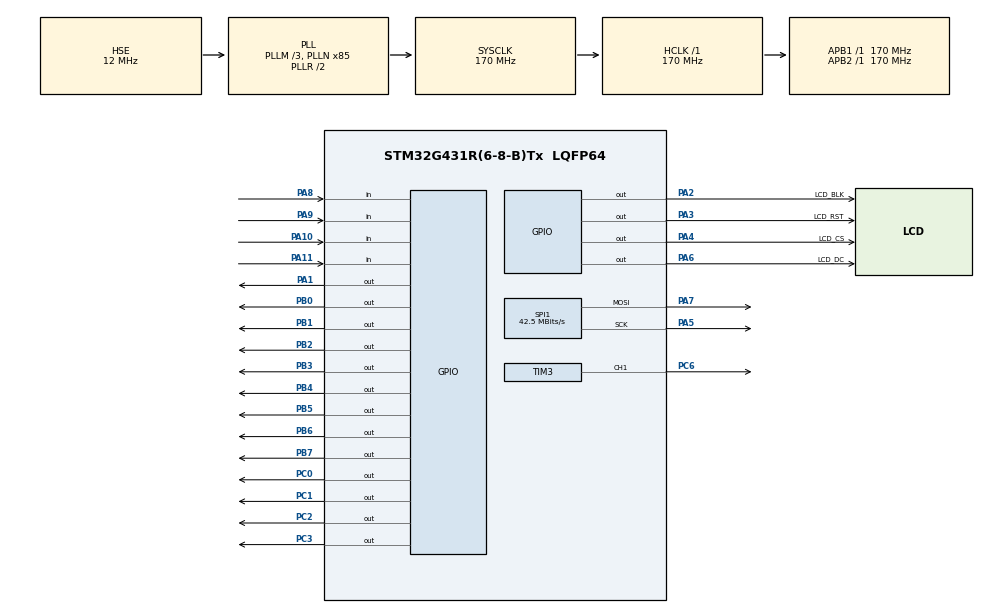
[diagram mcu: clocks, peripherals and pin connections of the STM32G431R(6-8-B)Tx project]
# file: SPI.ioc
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Dma.Request0=SPI1_TX
Dma.SPI1_TX.0.Direction=DMA_MEMORY_TO_PERIPH
Dma.SPI1_TX.0.EventEnable=DISABLE
Dma.SPI1_TX.0.Instance=DMA1_Channel1
Dma.SPI1_TX.0.MemDataAlignment=DMA_MDATAALIGN_BYTE
Dma.SPI1_TX.0.MemInc=DMA_MINC_ENABLE
Dma.SPI1_TX.0.Mode=DMA_NORMAL
Dma.SPI1_TX.0.PeriphDataAlignment=DMA_PDATAALIGN_BYTE
Dma.SPI1_TX.0.PeriphInc=DMA_PINC_DISABLE
Dma.SPI1_TX.0.Polarity=HAL_DMAMUX_REQ_GEN_RISING
Dma.SPI1_TX.0.Priority=DMA_PRIORITY_LOW
Dma.SPI1_TX.0.RequestNumber=1
Dma.SPI1_TX.0.SignalID=NONE
Dma.SPI1_TX.0.SyncEnable=DISABLE
Dma.SPI1_TX.0.SyncPolarity=HAL_DMAMUX_SYNC_NO_EVENT
Dma.SPI1_TX.0.SyncRequestNumber=1
Dma.SPI1_TX.0.SyncSignalID=NONE
Mcu.Family=STM32G4
Mcu.Name=STM32G431R(6-8-B)Tx
Mcu.Package=LQFP64
NVIC.DMA1_Channel1_IRQn=true\:0\:0\:false\:false\:true\:false\:true\:true
NVIC.PriorityGroup=NVIC_PRIORITYGROUP_4
NVIC.TIM1_TRG_COM_TIM17_IRQn=true\:0\:0\:false\:false\:true\:true\:true\:true
NVIC.TIM1_UP_TIM16_IRQn=true\:0\:0\:false\:false\:true\:true\:true\:true
NVIC.TIM3_IRQn=true\:0\:0\:false\:false\:true\:true\:true\:true
NVIC.TIM6_DAC_IRQn=true\:0\:0\:false\:false\:true\:true\:true\:true
NVIC.TIM7_IRQn=true\:0\:0\:false\:false\:true\:true\:true\:true
PA1.Signal=GPIO_Output
PA10.Signal=GPIO_Input
PA11.Signal=GPIO_Input
PA2.GPIO_Label=LCD_BLK
PA2.PinState=GPIO_PIN_RESET
PA2.Signal=GPIO_Output
PA3.GPIO_Label=LCD_RST
PA3.GPIO_Speed=GPIO_SPEED_FREQ_HIGH
PA3.PinState=GPIO_PIN_SET
PA3.Signal=GPIO_Output
PA4.GPIO_Label=LCD_CS
PA4.GPIO_Speed=GPIO_SPEED_FREQ_HIGH
PA4.PinState=GPIO_PIN_SET
PA4.Signal=GPIO_Output
PA5.GPIO_Speed=GPIO_SPEED_FREQ_VERY_HIGH
PA5.Mode=TX_Only_Simplex_Unidirect_Master
PA5.Signal=SPI1_SCK
PA6.GPIO_Label=LCD_DC
PA6.GPIO_Speed=GPIO_SPEED_FREQ_HIGH
PA6.PinState=GPIO_PIN_SET
PA6.Signal=GPIO_Output
PA7.GPIO_Speed=GPIO_SPEED_FREQ_VERY_HIGH
PA7.Mode=TX_Only_Simplex_Unidirect_Master
PA7.Signal=SPI1_MOSI
PA8.Signal=GPIO_Input
PA9.Signal=GPIO_Input
PB0.Signal=GPIO_Output
PB1.Signal=GPIO_Output
PB2.Signal=GPIO_Output
PB3.Signal=GPIO_Output
PB4.Signal=GPIO_Output
PB5.Signal=GPIO_Output
PB6.Signal=GPIO_Output
PB7.Signal=GPIO_Output
PC0.Signal=GPIO_Output
PC1.Signal=GPIO_Output
PC2.Signal=GPIO_Output
PC3.Signal=GPIO_Output
PC6.Signal=S_TIM3_CH1
PF0-OSC_IN.Mode=HSE-External-Oscillator
PF0-OSC_IN.Signal=RCC_OSC_IN
PF1-OSC_OUT.Mode=HSE-External-Oscillator
PF1-OSC_OUT.Signal=RCC_OSC_OUT
ProjectManager.HeapSize=0x200
ProjectManager.StackSize=0x400
ProjectManager.TargetToolchain=MDK-ARM V5
RCC.ADC12Freq_Value=170000000
RCC.AHBFreq_Value=170000000
RCC.APB1Freq_Value=170000000
RCC.APB1TimFreq_Value=170000000
RCC.APB2Freq_Value=170000000
RCC.APB2TimFreq_Value=170000000
RCC.CortexFreq_Value=170000000
RCC.EXTERNAL_CLOCK_VALUE=12288000
RCC.HCLKFreq_Value=170000000
RCC.HSE_VALUE=12000000
RCC.HSI48_VALUE=48000000
RCC.HSI_VALUE=16000000
RCC.LSE_VALUE=32768
RCC.PLLM=RCC_PLLM_DIV3
RCC.PLLN=85
RCC.PLLSourceVirtual=RCC_PLLSOURCE_HSE
RCC.SYSCLKFreq_VALUE=170000000
RCC.SYSCLKSource=RCC_SYSCLKSOURCE_PLLCLK
RCC.USBFreq_Value=170000000
RCC.VCOOutputFreq_Value=340000000
SH.S_TIM3_CH1.0=TIM3_CH1,PWM Generation1 CH1
SPI1.BaudRatePrescaler=SPI_BAUDRATEPRESCALER_4
SPI1.CLKPhase=SPI_PHASE_1EDGE
SPI1.CLKPolarity=SPI_POLARITY_LOW
SPI1.CalculateBaudRate=42.5 MBits/s
SPI1.DataSize=SPI_DATASIZE_8BIT
SPI1.Direction=SPI_DIRECTION_2LINES
SPI1.Mode=SPI_MODE_MASTER
SPI1.VirtualType=VM_MASTER
TIM3.Channel-PWM\ Generation1\ CH1=TIM_CHANNEL_1
TIM3.PeriodNoDither=999
TIM3.Prescaler=169
TIM3.PulseNoDither_1=500
TIM6.PeriodNoDither=625
TIM6.Prescaler=16999
TIM7.PeriodNoDither=999
TIM7.Prescaler=169
VP_SYS_VS_DBSignals.Mode=DisableDeadBatterySignals
VP_TIM16_VS_ClockSourceINT.Mode=Enable_Timer
VP_TIM17_VS_ClockSourceINT.Mode=Enable_Timer
VP_TIM2_VS_ClockSourceINT.Mode=Internal
VP_TIM3_VS_ClockSourceINT.Mode=Internal
VP_TIM6_VS_ClockSourceINT.Mode=Enable_Timer
VP_TIM7_VS_ClockSourceINT.Mode=Enable_Timer
board=custom

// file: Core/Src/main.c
/* USER CODE BEGIN Header */
/**
  ******************************************************************************
  * @file           : main.c
  * @brief          : Main program body
  ******************************************************************************
  * @attention
  *
  * Copyright (c) 2025 STMicroelectronics.
  * All rights reserved.
  *
  * This software is licensed under terms that can be found in the LICENSE file
  * in the root directory of this software component.
  * If no LICENSE file comes with this software, it is provided AS-IS.
  *
  ******************************************************************************
  */
/* USER CODE END Header */
#include "main.h"
#include "dma.h"
#include "spi.h"
#include "tim.h"
#include "gpio.h"

/* USER CODE BEGIN Includes */
#include "lcd_init.h"
#include "lcd.h"
#include "pic.h"
#include "Keyboard.h"
#include "Draw_Clock.h"
#include "Digital_Tube.h"
#include "Music.h"
/* USER CODE END Includes */

void SystemClock_Config(void);

/* USER CODE BEGIN 0 */

//定时器中断回调函数
void HAL_TIM_PeriodElapsedCallback(TIM_HandleTypeDef *htim)
{

	if(htim->Instance == TIM7)			//每1毫秒扫描数码管
	{
									KeyCode_1 = KeyPro_K1();
									KeyCode_5 = KeyPro_K5();
									KeyCode_9 = KeyPro_K9();
									KeyCode_13 = KeyPro_K13();
									Mode_X();
									Mode_0_Show_Time(); //Mode_0
									Mode_1_Show_Counter();//Mode_1
									Mode_2_Show_TimerMode();//Mode_2
									Mode_3_Show_AlarmClock();//Mode_3

									if(cishu == 1)
									{
										flag_music = 0;
										cishu = 0;
									}

	} //Tim7 if()

if( flag_music ==1 )
{
	if(htim->Instance == TIM6)
	{
			HAL_TIM_PWM_Start_IT(&htim3, TIM_CHANNEL_1);
			Music_Clock();
	} //Tim6 if()
}
else if( flag_music == 0)
{	HAL_TIM_PWM_Stop_IT(&htim3, TIM_CHANNEL_1);}

}//中断回调函数

/* USER CODE END 0 */

int main(void)
{

  /* MCU Configuration--------------------------------------------------------*/

  /* Reset of all peripherals, Initializes the Flash interface and the Systick. */
  HAL_Init();

  /* Configure the system clock */
  SystemClock_Config();

  /* Initialize all configured peripherals */
  MX_GPIO_Init();
  MX_DMA_Init();
  MX_SPI1_Init();
  MX_TIM3_Init();
  MX_TIM6_Init();
  MX_TIM7_Init();
  MX_TIM2_Init();
  MX_TIM16_Init();
  MX_TIM17_Init();
  /* USER CODE BEGIN 2 */
	LCD_Init();//LCD��ʼ��
  LCD_Init();//LCD��ʼ��
//	HAL_TIM_PWM_Start_IT(&htim3, TIM_CHANNEL_1);
	HAL_TIM_Base_Start_IT(&htim6);
	HAL_TIM_Base_Start_IT(&htim7);
	HAL_TIM_Base_Start_IT(&htim17);
	HAL_TIM_Base_Start_IT(&htim16);
//  LCD_Fill(0,0,LCD_W,LCD_H,GRAYBLUE);
  /* USER CODE END 2 */

  /* Infinite loop */
  /* USER CODE BEGIN WHILE */

		LCD_Fill(0,0,LCD_W,LCD_H,BLACK);	//填充黑色背景
		Draw_Circle(140,120,115,YELLOW);	//画圆圈
		Draw_Three_zhen();//画三根针
		Draw_Large_Scale();//画大刻度
		Draw_Small_Scale();//画小刻度
		Draw_Dial_Numbers();//画表盘的数字

  while (1)
  {
    /* USER CODE END WHILE */

    /* USER CODE BEGIN 3 */
//	 LCD_ShowPicture(100,50,100,100,gImage_test);

		Draw_Dynamic_3hands();
		Mode_2_Counter();
		Mode_3_Counter();
	}	//while(1)

  /* USER CODE END 3 */
}

void SystemClock_Config(void)
{
  RCC_OscInitTypeDef RCC_OscInitStruct = {0};
  RCC_ClkInitTypeDef RCC_ClkInitStruct = {0};

  /** Configure the main internal regulator output voltage
  */
  HAL_PWREx_ControlVoltageScaling(PWR_REGULATOR_VOLTAGE_SCALE1_BOOST);

  /** Initializes the RCC Oscillators according to the specified parameters
  * in the RCC_OscInitTypeDef structure.
  */
  RCC_OscInitStruct.OscillatorType = RCC_OSCILLATORTYPE_HSE;
  RCC_OscInitStruct.HSEState = RCC_HSE_ON;
  RCC_OscInitStruct.PLL.PLLState = RCC_PLL_ON;
  RCC_OscInitStruct.PLL.PLLSource = RCC_PLLSOURCE_HSE;
  RCC_OscInitStruct.PLL.PLLM = RCC_PLLM_DIV3;
  RCC_OscInitStruct.PLL.PLLN = 85;
  RCC_OscInitStruct.PLL.PLLP = RCC_PLLP_DIV2;
  RCC_OscInitStruct.PLL.PLLQ = RCC_PLLQ_DIV2;
  RCC_OscInitStruct.PLL.PLLR = RCC_PLLR_DIV2;
  if (HAL_RCC_OscConfig(&RCC_OscInitStruct) != HAL_OK)
  {
    Error_Handler();
  }

  /** Initializes the CPU, AHB and APB buses clocks
  */
  RCC_ClkInitStruct.ClockType = RCC_CLOCKTYPE_HCLK|RCC_CLOCKTYPE_SYSCLK
                              |RCC_CLOCKTYPE_PCLK1|RCC_CLOCKTYPE_PCLK2;
  RCC_ClkInitStruct.SYSCLKSource = RCC_SYSCLKSOURCE_PLLCLK;
  RCC_ClkInitStruct.AHBCLKDivider = RCC_SYSCLK_DIV1;
  RCC_ClkInitStruct.APB1CLKDivider = RCC_HCLK_DIV1;
  RCC_ClkInitStruct.APB2CLKDivider = RCC_HCLK_DIV1;

  if (HAL_RCC_ClockConfig(&RCC_ClkInitStruct, FLASH_LATENCY_4) != HAL_OK)
  {
    Error_Handler();
  }
}

void Error_Handler(void)
{
  __disable_irq();
  while (1)
  {
  }
}
